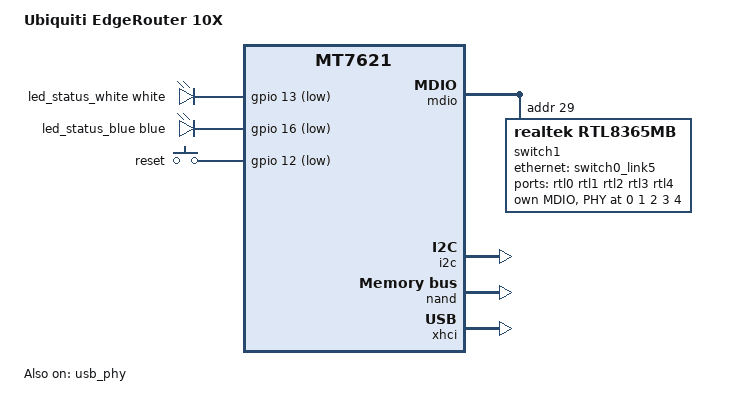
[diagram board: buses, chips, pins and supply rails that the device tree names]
// SPDX-License-Identifier: GPL-2.0-or-later OR MIT

#include "mt7621.dtsi"

#include <dt-bindings/gpio/gpio.h>
#include <dt-bindings/input/input.h>
#include <dt-bindings/leds/common.h>
#include <dt-bindings/interrupt-controller/irq.h>

/ {
	compatible = "ubnt,edgerouter-10x", "mediatek,mt7621-soc";
	model = "Ubiquiti EdgeRouter 10X";

	aliases {
		led-boot = &led_status_white;
		led-failsafe = &led_status_blue;
		led-running = &led_status_white;
		led-upgrade = &led_status_white;
	};

	/*
	 * One two-colour status LED behind the front panel, white and blue in
	 * a single package, both active low, on GPIOs 13 and 16.
	 *
	 * Measured on the board, driving the two pins by hand:
	 *
	 *   io13  io16   result
	 *     1     0    blue
	 *     0     0    white   (both lit; white swamps the blue)
	 *     0     1    white
	 *     1     1    off
	 *
	 * so it is two independent active low LEDs rather than one pin
	 * selecting a colour. Note this only works once the "jtag" pin group
	 * is claimed as GPIO -- see &state_default below.
	 *
	 * U-Boot leaves the LED blue, and diag.sh takes it from there: white
	 * blinking through preinit, solid white once boot completes, and blue
	 * kept for failsafe so that state is visually distinct.
	 */
	leds {
		compatible = "gpio-leds";

		led_status_white: led-0 {
			color = <LED_COLOR_ID_WHITE>;
			function = LED_FUNCTION_STATUS;
			gpios = <&gpio 13 GPIO_ACTIVE_LOW>;
		};

		led_status_blue: led-1 {
			color = <LED_COLOR_ID_BLUE>;
			function = LED_FUNCTION_STATUS;
			gpios = <&gpio 16 GPIO_ACTIVE_LOW>;
		};
	};

	keys {
		compatible = "gpio-keys";

		reset {
			label = "reset";
			gpios = <&gpio 12 GPIO_ACTIVE_LOW>;
			linux,code = <KEY_RESTART>;
		};
	};
};

&gmac0 {
	nvmem-cells = <&macaddr_factory_22 0>;
	nvmem-cell-names = "mac-address";
	openwrt,netdev-name = "dsa";
};

&gmac1 {
	status = "disabled";
};

/*
 * Internal MT7530 switch — 5 user ports. Confirmed from live DTB:
 * all traffic flows through GMAC0.
 */
&switch0 {
	dsa,member = <0 0>;

	ports {
		port@0 {
			status = "okay";
			openwrt,netdev-name = "eth0";
			/delete-property/ label;
		};

		port@1 {
			status = "okay";
			openwrt,netdev-name = "eth1";
			nvmem-cells = <&macaddr_factory_22 1>;
			nvmem-cell-names = "mac-address";
			/delete-property/ label;
		};

		port@2 {
			status = "okay";
			openwrt,netdev-name = "eth2";
			nvmem-cells = <&macaddr_factory_22 2>;
			nvmem-cell-names = "mac-address";
			/delete-property/ label;
		};

		port@3 {
			status = "okay";
			openwrt,netdev-name = "eth3";
			nvmem-cells = <&macaddr_factory_22 3>;
			nvmem-cell-names = "mac-address";
			/delete-property/ label;
		};

		port@4 {
			status = "okay";
			openwrt,netdev-name = "eth4";
			nvmem-cells = <&macaddr_factory_22 4>;
			nvmem-cell-names = "mac-address";
			/delete-property/ label;
		};

		/*
		 * EXPERIMENTAL: cascade link to the RTL8367C, testing the
		 * theory that the RTL8367C's CPU-facing extif is physically
		 * wired to MT7530's own port@5 MAC-only breakout rather than
		 * to the SoC's &gmac1 directly. Precedent:
		 * mt7621_ubnt_edgerouter-x-sfp.dts overrides &rgmii2_pins to
		 * "gpio" (freeing gmac1's physical pins for other use), which
		 * is why this port exists at all on this board family.
		 */
		switch0_link5: port@5 {
			reg = <5>;
			/*
			 * Plain "rgmii", matching stock. Was "rgmii-txid" on
			 * the (guessed) precedent of kirkwood-l-50 / vf610-zii
			 * using a delay-carrying phy-mode on both ends of a
			 * cascade wire — but stock's own registers say
			 * otherwise, and it broke the TX direction.
			 *
			 * mt7530_setup_port5() writes
			 * CSR_RGMII_TXC_CFG(0x10 + tx_delay) to P5RGMIITXCR
			 * (0x7b04), and our local patch sets tx_delay=4 for
			 * rgmii-txid/rgmii-id -> 0x14. Read off live working
			 * stock via `switch reg r 0x7b04`: **0x10**, i.e.
			 * tx_delay=0. With 0x14 the CPU->RTL8367 direction
			 * carried nothing (eth6 rx climbed steadily while tx
			 * stayed at 0 and the board never answered ARP);
			 * a wrong TX clock delay corrupts frames leaving
			 * MT7530 port 5 without affecting the RX direction.
			 * Plain "rgmii" leaves tx_delay=0 -> writes 0x10,
			 * matching stock exactly. The RTL8367 end keeps its
			 * own tx=1/rx=1 delays, which do match stock.
			 */
			phy-mode = "rgmii";

			/*
			 * NOT a DSA link port. This is a plain user port whose
			 * netdev is the *conduit* for the RTL8367, which is a
			 * separate DSA tree (see &switch1). Nested DSA.
			 *
			 * Why: the whole tree runs tag_mtk, and tag_mtk cannot
			 * address a second switch. From net/dsa/tag_mtk.c:
			 *   mtk_tag[1] = (1 << dp->index) & GENMASK(5, 0);
			 *   skb->dev = dsa_conduit_find_user(dev, 0, port);
			 * The xmit tag carries only dp->index — the port index
			 * on the port's *own* switch — with no switch/device
			 * field, and rcv hardcodes device 0 with a 3-bit source
			 * port. So with the RTL8367 as dsa,member = <0 1>, a
			 * frame for eth6 (RTL8367 port 1) was tagged "egress
			 * port 1" and MT7530 sent it out its *own* port 1. It
			 * never reached the RTL8367 — which is exactly what the
			 * hardware showed: RTL8367 port 1 in_bcast climbing
			 * while out_ucast/out_bcast stayed at 0.
			 *
			 * As two trees, each switch uses its own tagger: the
			 * RTL8367 tags a frame for its port 1, hands it to this
			 * netdev, and mtk then tags *that* for port 5. Each
			 * hop is addressed by the switch that understands it.
			 */
			label = "cascade";
			openwrt,netdev-name = "cascade";

			fixed-link {
				speed = <1000>;
				full-duplex;
				pause;
			};
		};
	};
};

/*
 * External RTL8367C (8-port) switch, reached over MT7530's MDIO bus at
 * address 29 (0x1d). Confirmed on hardware: the chip answers there and the
 * driver identifies it as an RTL8367RB-VB. An earlier guess of address 7
 * found nothing.
 *
 * CPU-facing port cascades through MT7530's own port@5 breakout (see
 * &switch0's port@5), NOT through &gmac1/RGMII2 directly — see the
 * EXPERIMENTAL comment there. Handled by the mainline rtl8365mb DSA
 * driver, which covers the RTL8367C chip family.
 *
 * User-port reg numbering and the extension-port index used for the CPU
 * port are unconfirmed from static analysis alone — to be verified against
 * live hardware.
 */
&mdio {
	switch1: switch@1d {
		compatible = "realtek,rtl8365mb";
		reg = <29>;

		/*
		 * Tree 1, switch 0 — its OWN DSA tree, not member 1 of the
		 * MT7530's tree. Was <0 1>, which could never work: that tree
		 * runs tag_mtk, and tag_mtk has no switch-id field, so frames
		 * for this chip's ports were addressed to MT7530's own ports
		 * instead. See the long note on &switch0's port@5.
		 *
		 * As its own tree this chip uses its own tag protocol, and its
		 * CPU port is conduited by the MT7530 user port "cascade".
		 */
		dsa,member = <1 0>;

		/*
		 * Confirmed via stock firmware's init_rtl8367s(): GPIO bank0
		 * pin 7 is configured for both-edge triggering (rising+falling)
		 * as the switch's cascading IRQ line, feeding the shared GIC.
		 */
		switch_intc: interrupt-controller {
			interrupt-parent = <&gpio>;
			interrupts = <7 IRQ_TYPE_EDGE_BOTH>;
			interrupt-controller;
			#address-cells = <0>;
			#interrupt-cells = <1>;
		};

		mdio {
			#address-cells = <1>;
			#size-cells = <0>;

			rtlphy0: ethernet-phy@0 {
				reg = <0>;
			};

			rtlphy1: ethernet-phy@1 {
				reg = <1>;
			};

			rtlphy2: ethernet-phy@2 {
				reg = <2>;
			};

			rtlphy3: ethernet-phy@3 {
				reg = <3>;
			};

			rtlphy4: ethernet-phy@4 {
				reg = <4>;
			};
		};

		/*
		 * These five carry "rtl0".."rtl4" as their DSA label but come up
		 * as eth5-eth9, so the netdev names match the numbers printed on
		 * the case (physical 0-9 -> eth0-eth9).
		 *
		 * The label cannot simply be "eth5" and friends. DSA uses label
		 * as the netdev name at registration, and this tree registers
		 * while the MT7530's five ports still hold the provisional names
		 * the kernel handed them (eth1-eth5); they are not renamed down
		 * to eth0-eth4 until userspace preinit runs. Asking for eth5
		 * here therefore fails outright:
		 *
		 *   rtl8365mb-mdio mdio-bus:1d eth5 (uninitialized): PHY [...]
		 *   mt7530-mdio mdio-bus:1f cascade: error -17 registering
		 *       interface eth5
		 *
		 * -17 is EEXIST, and that port is then simply missing. eth6-eth9
		 * are above the provisional range and would survive, so the
		 * breakage is a single silently absent port.
		 *
		 * A label outside the ethN space sidesteps the clash entirely.
		 * openwrt,netdev-name is applied afterwards by
		 * base-files/lib/preinit/04_set_netdev_label, by which point the
		 * MT7530 ports have cascaded down and freed eth5.
		 */
		ports {
			#address-cells = <1>;
			#size-cells = <0>;

			port@0 {
				reg = <0>;
				openwrt,netdev-name = "eth5";
				label = "rtl0";
				nvmem-cells = <&macaddr_factory_22 5>;
				nvmem-cell-names = "mac-address";
				phy-handle = <&rtlphy0>;
			};

			port@1 {
				reg = <1>;
				openwrt,netdev-name = "eth6";
				label = "rtl1";
				nvmem-cells = <&macaddr_factory_22 6>;
				nvmem-cell-names = "mac-address";
				phy-handle = <&rtlphy1>;
			};

			port@2 {
				reg = <2>;
				openwrt,netdev-name = "eth7";
				label = "rtl2";
				nvmem-cells = <&macaddr_factory_22 7>;
				nvmem-cell-names = "mac-address";
				phy-handle = <&rtlphy2>;
			};

			port@3 {
				reg = <3>;
				openwrt,netdev-name = "eth8";
				label = "rtl3";
				nvmem-cells = <&macaddr_factory_22 8>;
				nvmem-cell-names = "mac-address";
				phy-handle = <&rtlphy3>;
			};

			port@4 {
				reg = <4>;
				openwrt,netdev-name = "eth9";
				label = "rtl4";
				nvmem-cells = <&macaddr_factory_22 9>;
				nvmem-cell-names = "mac-address";
				phy-handle = <&rtlphy4>;
			};

			switch1_link6: port@6 {
				reg = <6>;
				/*
				 * This chip's CPU port. Its conduit is the
				 * MT7530 user port "cascade" (&switch0_link5) —
				 * nested DSA, because this switch is its own
				 * tree. Was `link = <&switch0_link5>`, i.e. a
				 * DSA cascade link within one tag_mtk tree,
				 * which cannot address a second switch. See the
				 * note on &switch0's port@5.
				 */
				ethernet = <&switch0_link5>;
				phy-mode = "rgmii";
				/*
				 * Read back from the switch on a running board:
				 * RGMXF for external interface 1 (register
				 * 0x1307, which is the extint this port's
				 * reg = <6> maps to) holds tx_delay = 1 and
				 * rx_delay = 1, i.e. 2000ps and 300ps.
				 */
				rx-internal-delay-ps = <300>;
				tx-internal-delay-ps = <2000>;

				fixed-link {
					speed = <1000>;
					full-duplex;
					pause;
				};
			};
		};
	};
};

&i2c {
	status = "okay";

	/*
	 * PoE PSE controller on ports 0 and 9. IC markings and I2C address
	 * TBD — requires opening the board to read the package label.
	 *
	 * poe_controller@XX {
	 *     compatible = "TBD";
	 *     reg = <0xXX>;
	 * };
	 */
};

&nand {
	status = "okay";

	/*
	 * NAND needs both pad groups: "nand1" is the spi group (7 pins,
	 * control) and "nand2" is the sdhci group (8 pins, the D0-D7 data
	 * bus). Without nand2 every read returns a constant 0xe0 -- not
	 * 0xff (a floating bus) and not the real ID -- because the data
	 * lines are still in GPIO function.
	 *
	 * This is why "sdhci" is no longer in &state_default's gpio list:
	 * two nodes claiming the same pads makes the pinctrl core reject
	 * the second claim and take the whole probe down.
	 */
	pinctrl-names = "default";
	pinctrl-0 = <&nand_pins>;

	partitions {
		compatible = "fixed-partitions";
		#address-cells = <1>;
		#size-cells = <1>;

		/*
		 * Stock layout (from live DTB):
		 *   Bootloader  0x000000  512KB
		 *   Config      0x080000  384KB
		 *   eeprom      0x0e0000  384KB  base MAC at eeprom+0x22
		 *   Kernel1     0x140000  3MB
		 *   Kernel2     0x440000  3MB
		 *   RootFS      0x740000  ~252MB
		 * OpenWrt merges Kernel1+Kernel2 into a single 6MB kernel slot.
		 */

		partition@0 {
			label = "u-boot";
			reg = <0x000000 0x080000>;
			read-only;
		};

		partition@80000 {
			label = "u-boot-env";
			reg = <0x080000 0x060000>;
			read-only;
		};

		partition@e0000 {
			label = "factory";
			reg = <0x0e0000 0x060000>;
			/*
			 * Deliberately writable, as it is on the EdgeRouter X.
			 * Stock keeps two 3 MiB kernel slots, Kernel1 at
			 * 0x140000 and Kernel2 at 0x440000, and picks between
			 * them with a byte at factory+0xa0. OpenWrt replaces
			 * both with the single 6 MiB "kernel" partition at
			 * 0x140000, so sysupgrade has to force that byte to 0
			 * or U-Boot carries on booting the second slot, which
			 * is now the tail of OpenWrt's kernel. The write lives
			 * in ubnt_update_kernel_flag() in
			 * base-files/lib/upgrade/ubnt.sh, and a read-only
			 * partition makes it fail the upgrade.
			 *
			 * u-boot and u-boot-env above stay read-only.
			 */

			/*
			 * Base MAC at +0x22, the same layout and offset the
			 * EdgeRouter X uses. U-Boot prints it as
			 *   UBNT BD mac 74acb9eb4375
			 * Without it mtk_soc_eth invents one random address
			 * and hands the same one to every interface, which
			 * changes on each boot and makes the bridge log
			 * "received packet on ethN with own address as source"
			 * whenever a LAN port and the WAN port share a switch.
			 */
			nvmem-layout {
				compatible = "fixed-layout";
				#address-cells = <1>;
				#size-cells = <1>;

				macaddr_factory_22: macaddr@22 {
					compatible = "mac-base";
					reg = <0x22 0x6>;
					#nvmem-cell-cells = <1>;
				};
			};
		};

		partition@140000 {
			label = "kernel";
			reg = <0x140000 0x600000>;
		};

		partition@740000 {
			label = "ubi";
			reg = <0x740000 0x1f4c0000>;
		};
	};
};

/*
 * The rgmii2 pin group has to be freed to GPIO on this board, which is not
 * obvious and was the cause of a long standing "links up, no traffic at all"
 * bug: the pads are wired to the RTL8367, not to a second RGMII MAC, so
 * leaving them in rgmii2 function drives them against the switch.
 *
 * This matters even though &gmac1 is already status="disabled" here:
 * mt7621.dtsi puts <&rgmii2_pins> in the *ethernet controller* node's
 * pinctrl-0 (alongside mdio_pins and rgmii1_pins), not in gmac1's, so the
 * pins are muxed to RGMII2 function whenever the ethernet controller
 * probes — regardless of gmac1's status. Disabling gmac1 frees the MAC,
 * not the pads.
 *
 * Why this is the prime suspect for the zero-traffic bug: stock's
 * init_rtl8367s() does a raw GPIO bit-bang (clear bit 7, then set bit 7 in
 * two further registers) as the literal first thing it does, before any SMI
 * contact with the chip — almost certainly the RTL8367's reset/enable line.
 * Those GPIO writes are inert unless the pads are in GPIO function. That
 * makes this a necessary precondition for the whole switch-enable sequence,
 * and it also means any attempt to replicate that GPIO sequence without
 * first freeing these pads cannot work, whatever base address it uses.
 *
 * Only the two Ubiquiti EdgeRouters free rgmii2 in the whole ramips tree
 * (this board and mt7621_ubnt_edgerouter-x-sfp.dts) — it is a
 * board-specific pad repurposing, not a generic MT7621 setting.
 *
 * IMPLEMENTATION NOTE: this must be done by overriding the &rgmii2_pins
 * node's function (the ER-X-SFP pattern), NOT by adding "rgmii2" to
 * &state_default's group list. Tried the latter first and it hard-fails:
 * state_default and the ethernet node's pinctrl-0 both then claim the same
 * pads, and the pinctrl core rejects the second claim, taking the whole
 * ethernet probe down with it:
 *   pin io22 already requested by pinctrl; cannot claim for 1e100000.ethernet
 *   could not request pin 22 (io22) from group rgmii2
 *   mtk_soc_eth 1e100000.ethernet: Error applying setting, reverse things back
 * Overriding the node instead leaves the ethernet node's existing claim on
 * <&rgmii2_pins> intact and simply changes what function that claim applies,
 * which reaches the same end state as stock with no conflict.
 */
&rgmii2_pins {
	rgmii2 {
		function = "gpio";
	};
};

&state_default {
	gpio {
		/*
		 * "sdhci" is claimed by &nand as nand2 (the D0-D7 data bus).
		 *
		 * "jtag" is pins 13-17, and the status LED hangs off two of
		 * them, so the group has to be claimed as GPIO. Without it
		 * pins 13-17 come up MUX UNCLAIMED and driving io13/io16 from
		 * /sys/class/gpio does nothing at all -- the LED simply stays
		 * whatever colour the bootloader left it, which makes it look
		 * as though the pins are wrong rather than unrouted.
		 */
		groups = "uart2", "uart3", "jtag";
		function = "gpio";
	};
};

&spi0 {
	status = "disabled";
};

&usb_phy {
	status = "okay";
};

&xhci {
	status = "okay";
};
